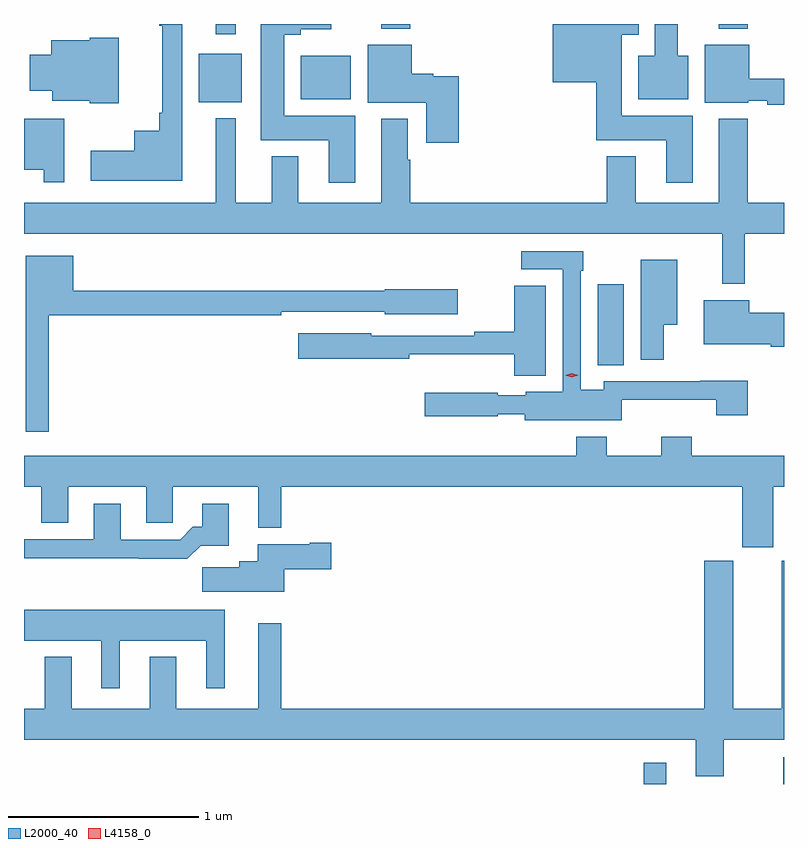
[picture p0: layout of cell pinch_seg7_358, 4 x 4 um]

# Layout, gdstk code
import gdstk
lib = gdstk.Library(unit=1e-6, precision=1e-09)
def R(c, l, rs):  # rectangles x0, y0, x1, y1
    for r in rs: c.add(gdstk.rectangle(r[:2], r[2:], *l))
def P(c, l, *ps):  # polygons
    for p in ps: c.add(gdstk.Polygon(p, *l))
L2000_40 = (2000, 40)
L4158_0 = (4158, 0)

pinch_seg7_358 = lib.new_cell('pinch_seg7_358')
R(pinch_seg7_358, L2000_40, [(493.495,1001.716,493.612,1001.827), (494.23,1001.716,494.233,1001.856), (493.253,1003.921,493.39,1004.347), (491.153,1005.305,491.38,1005.559), (491.69,1005.32,491.953,1005.55), (491.243,1005.663,491.347,1005.716), (492.113,1005.692,492.266,1005.716), (493.889,1005.692,494.042,1005.716)])
P(pinch_seg7_358, L2000_40, [(493.753,1005.232),(493.378,1005.232),(493.378,1005.659),(493.468,1005.659),(493.468,1005.716),(493.016,1005.716),(493.016,1005.41),(493.244,1005.41),(493.244,1005.104),(493.613,1005.104),(493.613,1004.88),(493.753,1004.88)],
  [(491.977,1005.232),(491.602,1005.232),(491.602,1005.659),(491.689,1005.659),(491.689,1005.689),(491.851,1005.689),(491.851,1005.716),(491.48,1005.716),(491.48,1005.104),(491.837,1005.104),(491.837,1004.88),(491.977,1004.88)],
  [(491.065,1005.716),(490.944,1005.716),(490.944,1005.707),(490.961,1005.707),(490.961,1005.25),(490.944,1005.25),(490.944,1005.154),(490.814,1005.154),(490.814,1005.049),(490.584,1005.049),(490.584,1004.891),(491.065,1004.891)],
  [(493.729,1005.55),(493.675,1005.55),(493.675,1005.716),(493.553,1005.716),(493.553,1005.55),(493.466,1005.55),(493.466,1005.32),(493.729,1005.32)],
  [(490.732,1005.643),(490.578,1005.643),(490.578,1005.631),(490.376,1005.631),(490.376,1005.553),(490.262,1005.553),(490.262,1005.365),(490.382,1005.365),(490.382,1005.311),(490.578,1005.311),(490.578,1005.299),(490.732,1005.299)],
  [(492.521,1005.442),(492.387,1005.442),(492.387,1005.455),(492.274,1005.455),(492.274,1005.607),(492.041,1005.607),(492.041,1005.302),(492.35,1005.302),(492.35,1005.09),(492.521,1005.09)],
  [(494.233,1005.428),(494.05,1005.428),(494.05,1005.607),(493.817,1005.607),(493.817,1005.302),(494.046,1005.302),(494.046,1005.312),(494.146,1005.312),(494.146,1005.292),(494.233,1005.292)],
  [(490.446,1005.217),(490.233,1005.217),(490.233,1004.948),(490.338,1004.948),(490.338,1004.883),(490.446,1004.883)],
  [(492.113,1005.217),(492.113,1004.776),(491.677,1004.776),(491.677,1005.019),(491.537,1005.019),(491.537,1004.776),(491.347,1004.776),(491.347,1005.22),(491.243,1005.22),(491.243,1004.776),(490.233,1004.776),(490.233,1004.612),(493.909,1004.612),(493.909,1004.349),(494.027,1004.349),(494.027,1004.612),(494.233,1004.612),(494.233,1004.776),(494.042,1004.776),(494.042,1005.217),(493.889,1005.217),(493.889,1004.776),(493.453,1004.776),(493.453,1005.019),(493.301,1005.019),(493.301,1004.776),(492.266,1004.776),(492.266,1005.002),(492.253,1005.002),(492.253,1005.217)],
  [(493.38,1003.739),(493.877,1003.739),(493.877,1003.656),(494.042,1003.656),(494.042,1003.838),(493.793,1003.838),(493.793,1003.836),(493.284,1003.836),(493.284,1003.792),(493.164,1003.792),(493.164,1004.417),(493.177,1004.417),(493.177,1004.52),(492.849,1004.52),(492.849,1004.424),(493.068,1004.424),(493.068,1003.78),(492.873,1003.78),(492.873,1003.761),(492.726,1003.761),(492.726,1003.774),(492.342,1003.774),(492.342,1003.652),(492.726,1003.652),(492.726,1003.663),(492.869,1003.663),(492.869,1003.631),(493.38,1003.631)],
  [(490.363,1004.182),(491.588,1004.182),(491.588,1004.202),(492.132,1004.202),(492.132,1004.189),(492.517,1004.189),(492.517,1004.319),(492.132,1004.319),(492.132,1004.311),(490.492,1004.311),(490.492,1004.497),(490.241,1004.497),(490.241,1003.569),(490.363,1003.569)],
  [(493.6,1004.132),(493.672,1004.132),(493.672,1004.476),(493.478,1004.476),(493.478,1003.95),(493.6,1003.95)],
  [(492.979,1004.339),(492.812,1004.339),(492.812,1004.096),(492.604,1004.096),(492.604,1004.076),(492.06,1004.076),(492.06,1004.089),(491.676,1004.089),(491.676,1003.955),(492.26,1003.955),(492.26,1003.979),(492.812,1003.979),(492.812,1003.865),(492.979,1003.865)],
  [(494.233,1004.196),(494.05,1004.196),(494.05,1004.263),(493.811,1004.263),(493.811,1004.03),(494.162,1004.03),(494.162,1004.018),(494.233,1004.018)],
  [(494.176,1003.28),(494.233,1003.28),(494.233,1003.444),(493.748,1003.444),(493.748,1003.543),(493.588,1003.543),(493.588,1003.444),(493.299,1003.444),(493.299,1003.543),(493.139,1003.543),(493.139,1003.444),(490.233,1003.444),(490.233,1003.28),(490.325,1003.28),(490.325,1003.09),(490.465,1003.09),(490.465,1003.28),(490.877,1003.28),(490.877,1003.09),(491.016,1003.09),(491.016,1003.28),(491.465,1003.28),(491.465,1003.064),(491.587,1003.064),(491.587,1003.28),(494.012,1003.28),(494.012,1002.963),(494.176,1002.963)],
  [(491.162,1002.971),(491.311,1002.971),(491.311,1003.192),(491.171,1003.192),(491.171,1003.069),(491.122,1003.069),(491.055,1003.002),(490.741,1003.002),(490.741,1003.192),(490.601,1003.192),(490.601,1003.005),(490.233,1003.005),(490.233,1002.904),(490.837,1002.904),(490.837,1002.902),(491.093,1002.902)],
  [(491.602,1002.845),(491.851,1002.845),(491.851,1002.987),(491.738,1002.987),(491.738,1002.979),(491.462,1002.979),(491.462,1002.889),(491.366,1002.889),(491.366,1002.857),(491.172,1002.857),(491.172,1002.728),(491.602,1002.728)],
  [(493.917,1001.948),(494.233,1001.948),(494.233,1002.891),(494.222,1002.891),(494.222,1002.112),(493.966,1002.112),(493.966,1002.891),(493.814,1002.891),(493.814,1002.112),(491.587,1002.112),(491.587,1002.562),(491.465,1002.562),(491.465,1002.112),(491.035,1002.112),(491.035,1002.385),(490.895,1002.385),(490.895,1002.112),(490.483,1002.112),(490.483,1002.385),(490.343,1002.385),(490.343,1002.112),(490.233,1002.112),(490.233,1001.948),(493.769,1001.948),(493.769,1001.758),(493.917,1001.758)],
  [(490.738,1002.47),(491.192,1002.47),(491.192,1002.219),(491.29,1002.219),(491.29,1002.634),(490.233,1002.634),(490.233,1002.47),(490.64,1002.47),(490.64,1002.219),(490.738,1002.219)])
P(pinch_seg7_358, L4158_0, [(493.116,1003.858),(493.082,1003.868),(493.081,1003.868),(493.082,1003.868),(493.116,1003.878),(493.151,1003.868),(493.151,1003.868),(493.151,1003.868)])

lib.write_gds('pinch_seg7_358.gds')
